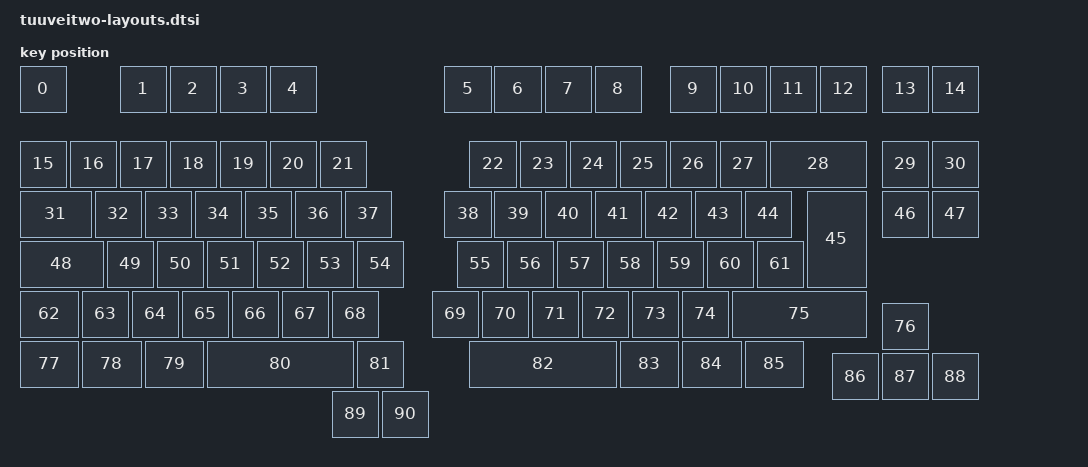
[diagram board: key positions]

#include <physical_layouts.dtsi>

/ {
    physical_layout0: physical_layout_0 {
        compatible = "zmk,physical-layout";
        display-name = "LAYOUT";

        kscan = <&kscan>;
        transform = <&default_transform>;

        keys  //                     w   h    x    y     rot    rx    ry
            = <&key_physical_attrs 100 100    0    0       0     0     0>
            , <&key_physical_attrs 100 100  200    0       0     0     0>
            , <&key_physical_attrs 100 100  300    0       0     0     0>
            , <&key_physical_attrs 100 100  400    0       0     0     0>
            , <&key_physical_attrs 100 100  500    0       0     0     0>
            , <&key_physical_attrs 100 100  850    0       0     0     0>
            , <&key_physical_attrs 100 100  950    0       0     0     0>
            , <&key_physical_attrs 100 100 1050    0       0     0     0>
            , <&key_physical_attrs 100 100 1150    0       0     0     0>
            , <&key_physical_attrs 100 100 1300    0       0     0     0>
            , <&key_physical_attrs 100 100 1400    0       0     0     0>
            , <&key_physical_attrs 100 100 1500    0       0     0     0>
            , <&key_physical_attrs 100 100 1600    0       0     0     0>
            , <&key_physical_attrs 100 100 1725    0       0     0     0>
            , <&key_physical_attrs 100 100 1825    0       0     0     0>
            , <&key_physical_attrs 100 100    0  150       0     0     0>
            , <&key_physical_attrs 100 100  100  150       0     0     0>
            , <&key_physical_attrs 100 100  200  150       0     0     0>
            , <&key_physical_attrs 100 100  300  150       0     0     0>
            , <&key_physical_attrs 100 100  400  150       0     0     0>
            , <&key_physical_attrs 100 100  500  150       0     0     0>
            , <&key_physical_attrs 100 100  600  150       0     0     0>
            , <&key_physical_attrs 100 100  900  150       0     0     0>
            , <&key_physical_attrs 100 100 1000  150       0     0     0>
            , <&key_physical_attrs 100 100 1100  150       0     0     0>
            , <&key_physical_attrs 100 100 1200  150       0     0     0>
            , <&key_physical_attrs 100 100 1300  150       0     0     0>
            , <&key_physical_attrs 100 100 1400  150       0     0     0>
            , <&key_physical_attrs 200 100 1500  150       0     0     0>
            , <&key_physical_attrs 100 100 1725  150       0     0     0>
            , <&key_physical_attrs 100 100 1825  150       0     0     0>
            , <&key_physical_attrs 150 100    0  250       0     0     0>
            , <&key_physical_attrs 100 100  150  250       0     0     0>
            , <&key_physical_attrs 100 100  250  250       0     0     0>
            , <&key_physical_attrs 100 100  350  250       0     0     0>
            , <&key_physical_attrs 100 100  450  250       0     0     0>
            , <&key_physical_attrs 100 100  550  250       0     0     0>
            , <&key_physical_attrs 100 100  650  250       0     0     0>
            , <&key_physical_attrs 100 100  850  250       0     0     0>
            , <&key_physical_attrs 100 100  950  250       0     0     0>
            , <&key_physical_attrs 100 100 1050  250       0     0     0>
            , <&key_physical_attrs 100 100 1150  250       0     0     0>
            , <&key_physical_attrs 100 100 1250  250       0     0     0>
            , <&key_physical_attrs 100 100 1350  250       0     0     0>
            , <&key_physical_attrs 100 100 1450  250       0     0     0>
            , <&key_physical_attrs 125 200 1575  250       0     0     0>
            , <&key_physical_attrs 100 100 1725  250       0     0     0>
            , <&key_physical_attrs 100 100 1825  250       0     0     0>
            , <&key_physical_attrs 175 100    0  350       0     0     0>
            , <&key_physical_attrs 100 100  175  350       0     0     0>
            , <&key_physical_attrs 100 100  275  350       0     0     0>
            , <&key_physical_attrs 100 100  375  350       0     0     0>
            , <&key_physical_attrs 100 100  475  350       0     0     0>
            , <&key_physical_attrs 100 100  575  350       0     0     0>
            , <&key_physical_attrs 100 100  675  350       0     0     0>
            , <&key_physical_attrs 100 100  875  350       0     0     0>
            , <&key_physical_attrs 100 100  975  350       0     0     0>
            , <&key_physical_attrs 100 100 1075  350       0     0     0>
            , <&key_physical_attrs 100 100 1175  350       0     0     0>
            , <&key_physical_attrs 100 100 1275  350       0     0     0>
            , <&key_physical_attrs 100 100 1375  350       0     0     0>
            , <&key_physical_attrs 100 100 1475  350       0     0     0>
            , <&key_physical_attrs 125 100    0  450       0     0     0>
            , <&key_physical_attrs 100 100  125  450       0     0     0>
            , <&key_physical_attrs 100 100  225  450       0     0     0>
            , <&key_physical_attrs 100 100  325  450       0     0     0>
            , <&key_physical_attrs 100 100  425  450       0     0     0>
            , <&key_physical_attrs 100 100  525  450       0     0     0>
            , <&key_physical_attrs 100 100  625  450       0     0     0>
            , <&key_physical_attrs 100 100  825  450       0     0     0>
            , <&key_physical_attrs 100 100  925  450       0     0     0>
            , <&key_physical_attrs 100 100 1025  450       0     0     0>
            , <&key_physical_attrs 100 100 1125  450       0     0     0>
            , <&key_physical_attrs 100 100 1225  450       0     0     0>
            , <&key_physical_attrs 100 100 1325  450       0     0     0>
            , <&key_physical_attrs 275 100 1425  450       0     0     0>
            , <&key_physical_attrs 100 100 1725  475       0     0     0>
            , <&key_physical_attrs 125 100    0  550       0     0     0>
            , <&key_physical_attrs 125 100  125  550       0     0     0>
            , <&key_physical_attrs 125 100  250  550       0     0     0>
            , <&key_physical_attrs 300 100  375  550       0     0     0>
            , <&key_physical_attrs 100 100  675  550       0     0     0>
            , <&key_physical_attrs 300 100  900  550       0     0     0>
            , <&key_physical_attrs 125 100 1200  550       0     0     0>
            , <&key_physical_attrs 125 100 1325  550       0     0     0>
            , <&key_physical_attrs 125 100 1450  550       0     0     0>
            , <&key_physical_attrs 100 100 1625  575       0     0     0>
            , <&key_physical_attrs 100 100 1725  575       0     0     0>
            , <&key_physical_attrs 100 100 1825  575       0     0     0>
            , <&key_physical_attrs 100 100  625  650       0     0     0>
            , <&key_physical_attrs 100 100  725  650       0     0     0>
            ;
    };
};
